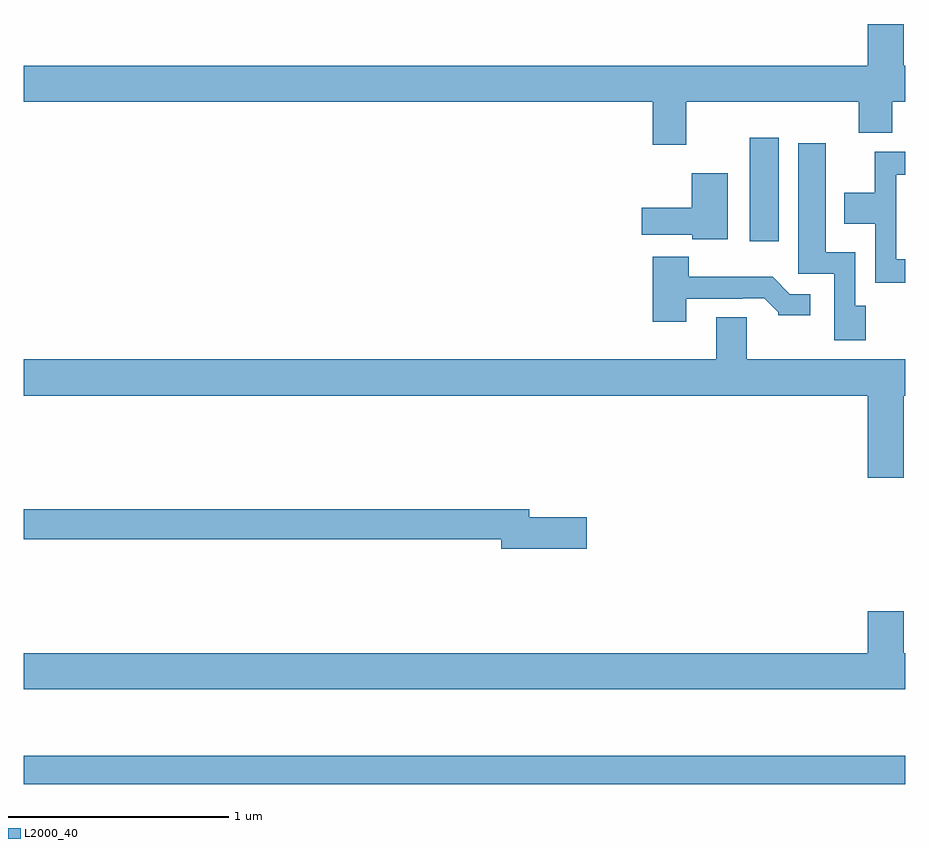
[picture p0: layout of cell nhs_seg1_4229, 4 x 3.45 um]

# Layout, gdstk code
import gdstk
lib = gdstk.Library(unit=1e-6, precision=1e-09)
def R(c, l, rs):  # rectangles x0, y0, x1, y1
    for r in rs: c.add(gdstk.rectangle(r[:2], r[2:], *l))
def P(c, l, *ps):  # polygons
    for p in ps: c.add(gdstk.Polygon(p, *l))
L2000_40 = (2000, 40)

nhs_seg1_4229 = lib.new_cell('nhs_seg1_4229')
R(nhs_seg1_4229, L2000_40, [(341,544.642,345,544.771), (344.294,547.104,344.425,547.573)])
P(nhs_seg1_4229, L2000_40, [(344.005,547.736),(344.789,547.736),(344.789,547.595),(344.941,547.595),(344.941,547.736),(345,547.736),(345,547.9),(344.992,547.9),(344.992,548.089),(344.828,548.089),(344.828,547.9),(341,547.9),(341,547.736),(343.853,547.736),(343.853,547.542),(344.005,547.542)],
  [(344.82,546.81),(344.772,546.81),(344.772,547.054),(344.638,547.054),(344.638,547.549),(344.513,547.549),(344.513,546.957),(344.676,546.957),(344.676,546.654),(344.82,546.654)],
  [(345,547.023),(344.958,547.023),(344.958,547.406),(345,547.406),(345,547.51),(344.86,547.51),(344.86,547.324),(344.723,547.324),(344.723,547.184),(344.862,547.184),(344.862,546.915),(345,546.915)],
  [(344.194,547.411),(344.03,547.411),(344.03,547.255),(343.803,547.255),(343.803,547.133),(344.034,547.133),(344.034,547.112),(344.194,547.112)],
  [(344.005,546.843),(344.261,546.843),(344.261,546.846),(344.36,546.846),(344.424,546.782),(344.424,546.767),(344.569,546.767),(344.569,546.864),(344.475,546.864),(344.397,546.943),(344.018,546.943),(344.018,547.033),(343.853,547.033),(343.853,546.738),(344.005,546.738)],
  [(344.992,546.404),(345,546.404),(345,546.568),(344.281,546.568),(344.281,546.758),(344.141,546.758),(344.141,546.568),(341,546.568),(341,546.404),(344.828,546.404),(344.828,546.03),(344.992,546.03)],
  [(343.555,545.852),(343.294,545.852),(343.294,545.888),(341,545.888),(341,545.752),(343.166,545.752),(343.166,545.71),(343.555,545.71)],
  [(345,545.236),(344.992,545.236),(344.992,545.425),(344.828,545.425),(344.828,545.236),(341,545.236),(341,545.072),(345,545.072)])

lib.write_gds('nhs_seg1_4229.gds')
